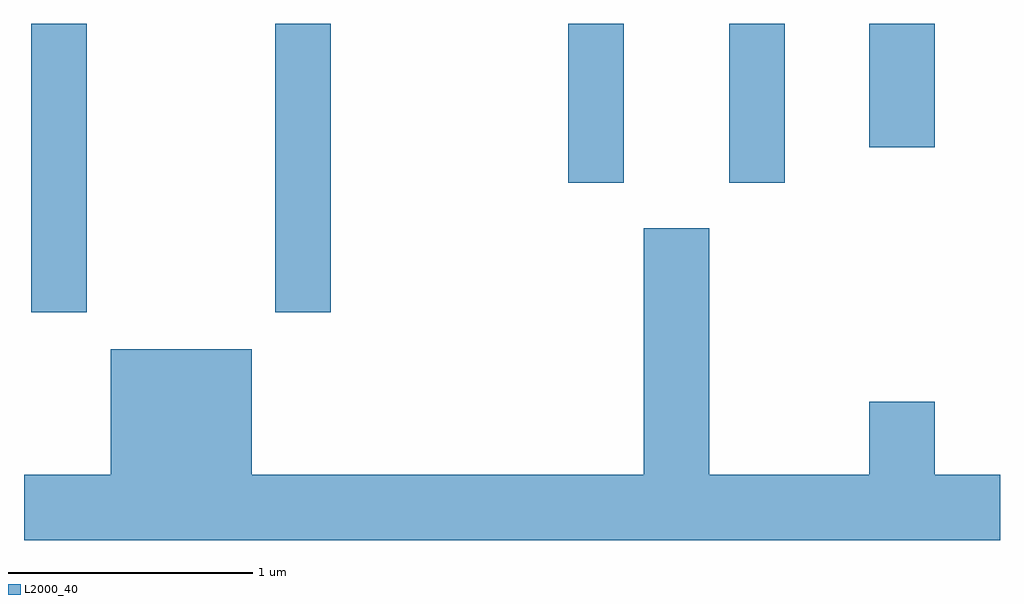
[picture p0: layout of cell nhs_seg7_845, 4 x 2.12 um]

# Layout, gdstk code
import gdstk
lib = gdstk.Library(unit=1e-6, precision=1e-09)
def R(c, l, rs):  # rectangles x0, y0, x1, y1
    for r in rs: c.add(gdstk.rectangle(r[:2], r[2:], *l))
def P(c, l, *ps):  # polygons
    for p in ps: c.add(gdstk.Polygon(p, *l))
L2000_40 = (2000, 40)

nhs_seg7_845 = lib.new_cell('nhs_seg7_845')
R(nhs_seg7_845, L2000_40, [(211.641,1673.071,211.869,1674.252), (212.641,1673.071,212.869,1674.252), (213.841,1673.601,214.069,1674.252), (214.501,1673.601,214.729,1674.252), (215.076,1673.746,215.344,1674.252)])
P(nhs_seg7_845, L2000_40, [(215.611,1672.404),(215.344,1672.404),(215.344,1672.704),(215.076,1672.704),(215.076,1672.404),(214.419,1672.404),(214.419,1673.414),(214.151,1673.414),(214.151,1672.404),(212.544,1672.404),(212.544,1672.919),(211.966,1672.919),(211.966,1672.404),(211.611,1672.404),(211.611,1672.136),(215.611,1672.136)])

lib.write_gds('nhs_seg7_845.gds')
